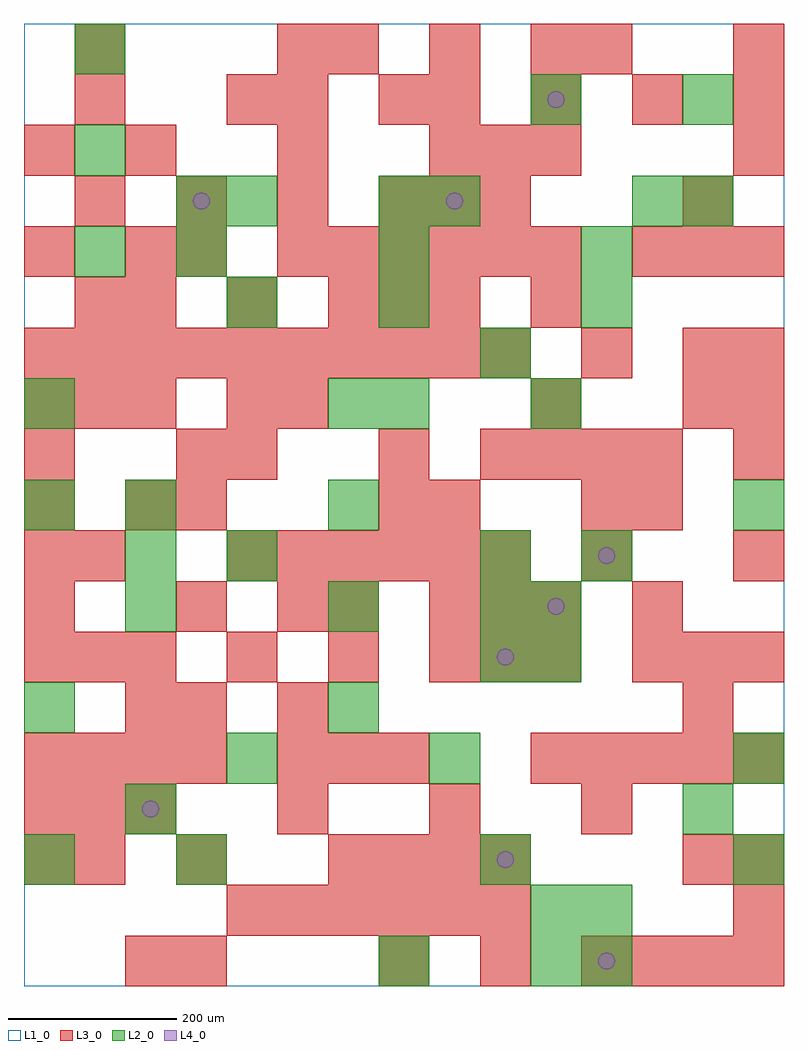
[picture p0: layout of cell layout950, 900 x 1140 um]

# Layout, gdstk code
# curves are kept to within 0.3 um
import gdstk
lib = gdstk.Library(unit=1e-6, precision=1e-09)
def R(c, l, rs):  # rectangles x0, y0, x1, y1
    for r in rs: c.add(gdstk.rectangle(r[:2], r[2:], *l))
def A(c, l, x, y, w, h, nx, ny, dx, dy):  # array of equal rectangles
    R(c, l, [(x+i*dx, y+j*dy, x+i*dx+w, y+j*dy+h) for i in range(nx) for j in range(ny)])
def P(c, l, *ps):  # polygons
    for p in ps: c.add(gdstk.Polygon(p, *l))
L1_0 = (1, 0)
L2_0 = (2, 0)
L3_0 = (3, 0)
L4_0 = (4, 0)

layout950 = lib.new_cell('layout950')
R(layout950, L1_0, [(0,0,900,1140)])
A(layout950, L2_0, 360, 300, 60, 60, 1, 4, 0, 120)
A(layout950, L2_0, 540, 360, 60, 60, 1, 3, 0, 60)
A(layout950, L2_0, 120, 420, 60, 60, 1, 3, 0, 60)
A(layout950, L2_0, 420, 660, 60, 60, 1, 3, 0, 120)
A(layout950, L2_0, 60, 840, 60, 60, 1, 3, 0, 120)
A(layout950, L2_0, 180, 840, 60, 60, 3, 1, 240, 0)
R(layout950, L2_0, [(420,0,480,60), (600,0,660,60), (660,0,720,60), (600,60,660,120), (660,60,720,120), (0,120,60,180), (180,120,240,180), (540,120,600,180), (840,120,900,180), (120,180,180,240), (780,180,840,240), (240,240,300,300), (480,240,540,300), (840,240,900,300), (0,300,60,360), (600,360,660,420), (600,420,660,480), (240,480,300,540), (660,480,720,540), (0,540,60,600), (840,540,900,600), (0,660,60,720), (600,660,660,720), (540,720,600,780), (240,780,300,840), (660,780,720,840), (180,900,240,960), (240,900,300,960), (480,900,540,960), (720,900,780,960), (780,900,840,960), (600,1020,660,1080), (780,1020,840,1080)])
A(layout950, L3_0, 420, 0, 60, 60, 3, 1, 120, 0)
A(layout950, L3_0, 720, 0, 60, 60, 3, 2, 60, 360)
A(layout950, L3_0, 240, 60, 60, 60, 6, 2, 60, 420)
A(layout950, L3_0, 360, 120, 60, 60, 4, 1, 60, 0)
A(layout950, L3_0, 0, 180, 60, 60, 3, 2, 60, 180)
A(layout950, L3_0, 300, 180, 60, 60, 3, 1, 180, 0)
A(layout950, L3_0, 0, 240, 60, 60, 4, 1, 60, 0)
A(layout950, L3_0, 300, 240, 60, 60, 3, 1, 60, 0)
A(layout950, L3_0, 600, 240, 60, 60, 5, 1, 60, 0)
A(layout950, L3_0, 180, 300, 60, 60, 1, 3, 0, 120)
A(layout950, L3_0, 240, 360, 60, 60, 3, 1, 120, 0)
A(layout950, L3_0, 0, 420, 60, 60, 1, 4, 0, 60)
A(layout950, L3_0, 480, 420, 60, 60, 3, 1, 60, 0)
A(layout950, L3_0, 540, 600, 60, 60, 4, 1, 60, 0)
A(layout950, L3_0, 840, 600, 60, 60, 1, 3, 0, 60)
A(layout950, L3_0, 0, 660, 60, 60, 3, 1, 60, 0)
A(layout950, L3_0, 0, 720, 60, 60, 10, 1, 60, 0)
A(layout950, L3_0, 120, 780, 60, 60, 3, 1, 120, 0)
A(layout950, L3_0, 300, 840, 60, 60, 6, 1, 60, 0)
A(layout950, L3_0, 720, 840, 60, 60, 3, 1, 60, 0)
A(layout950, L3_0, 60, 900, 60, 60, 4, 1, 120, 0)
A(layout950, L3_0, 120, 960, 60, 60, 3, 1, 180, 0)
A(layout950, L3_0, 480, 1020, 60, 60, 4, 1, 120, 0)
A(layout950, L3_0, 360, 1080, 60, 60, 3, 1, 120, 0)
R(layout950, L3_0, [(120,0,180,60), (180,0,240,60), (840,60,900,120), (0,120,60,180), (60,120,120,180), (180,120,240,180), (780,120,840,180), (840,120,900,180), (120,300,180,360), (300,300,360,360), (780,300,840,360), (540,360,600,420), (600,360,660,420), (300,420,360,480), (360,420,420,480), (720,420,780,480), (60,480,120,540), (660,480,720,540), (840,480,900,540), (120,540,180,600), (420,540,480,600), (480,540,540,600), (660,540,720,600), (720,540,780,600), (180,600,240,660), (240,600,300,660), (420,600,480,660), (240,660,300,720), (300,660,360,720), (600,660,660,720), (780,660,840,720), (660,720,720,780), (780,720,840,780), (60,780,120,840), (420,780,480,840), (480,780,540,840), (600,780,660,840), (0,840,60,900), (120,840,180,900), (180,840,240,900), (480,900,540,960), (540,900,600,960), (780,900,840,960), (0,960,60,1020), (540,960,600,1020), (600,960,660,1020), (840,960,900,1020), (60,1020,120,1080), (240,1020,300,1080), (300,1020,360,1080), (420,1020,480,1080), (60,1080,120,1140), (300,1080,360,1140), (660,1080,720,1140), (840,1080,900,1140)])
P(layout950, L4_0, [(160,210),(159.239,213.827),(157.071,217.071),(153.827,219.239),(150,220),(146.173,219.239),(142.929,217.071),(140.761,213.827),(140,210),(140.761,206.173),(142.929,202.929),(146.173,200.761),(150,200),(153.827,200.761),(157.071,202.929),(159.239,206.173)],
  [(220,930),(219.239,933.827),(217.071,937.071),(213.827,939.239),(210,940),(206.173,939.239),(202.929,937.071),(200.761,933.827),(200,930),(200.761,926.173),(202.929,922.929),(206.173,920.761),(210,920),(213.827,920.761),(217.071,922.929),(219.239,926.173)],
  [(520,930),(519.239,933.827),(517.071,937.071),(513.827,939.239),(510,940),(506.173,939.239),(502.929,937.071),(500.761,933.827),(500,930),(500.761,926.173),(502.929,922.929),(506.173,920.761),(510,920),(513.827,920.761),(517.071,922.929),(519.239,926.173)],
  [(580,150),(579.239,153.827),(577.071,157.071),(573.827,159.239),(570,160),(566.173,159.239),(562.929,157.071),(560.761,153.827),(560,150),(560.761,146.173),(562.929,142.929),(566.173,140.761),(570,140),(573.827,140.761),(577.071,142.929),(579.239,146.173)],
  [(580,390),(579.239,393.827),(577.071,397.071),(573.827,399.239),(570,400),(566.173,399.239),(562.929,397.071),(560.761,393.827),(560,390),(560.761,386.173),(562.929,382.929),(566.173,380.761),(570,380),(573.827,380.761),(577.071,382.929),(579.239,386.173)],
  [(640,450),(639.239,453.827),(637.071,457.071),(633.827,459.239),(630,460),(626.173,459.239),(622.929,457.071),(620.761,453.827),(620,450),(620.761,446.173),(622.929,442.929),(626.173,440.761),(630,440),(633.827,440.761),(637.071,442.929),(639.239,446.173)],
  [(640,1050),(639.239,1053.827),(637.071,1057.071),(633.827,1059.239),(630,1060),(626.173,1059.239),(622.929,1057.071),(620.761,1053.827),(620,1050),(620.761,1046.173),(622.929,1042.929),(626.173,1040.761),(630,1040),(633.827,1040.761),(637.071,1042.929),(639.239,1046.173)],
  [(700,30),(699.239,33.827),(697.071,37.071),(693.827,39.239),(690,40),(686.173,39.239),(682.929,37.071),(680.761,33.827),(680,30),(680.761,26.173),(682.929,22.929),(686.173,20.761),(690,20),(693.827,20.761),(697.071,22.929),(699.239,26.173)],
  [(700,510),(699.239,513.827),(697.071,517.071),(693.827,519.239),(690,520),(686.173,519.239),(682.929,517.071),(680.761,513.827),(680,510),(680.761,506.173),(682.929,502.929),(686.173,500.761),(690,500),(693.827,500.761),(697.071,502.929),(699.239,506.173)])

lib.write_gds('layout950.gds')
